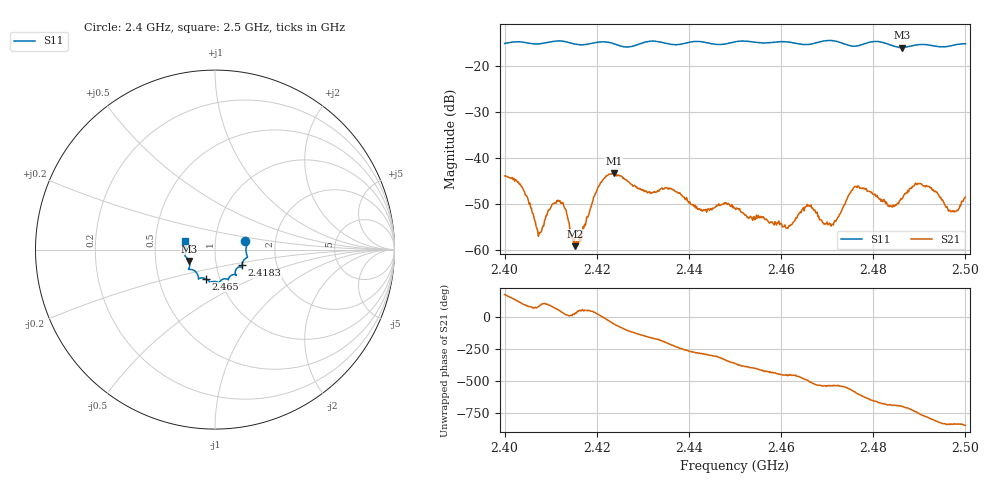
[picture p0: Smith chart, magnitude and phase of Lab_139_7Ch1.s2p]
# Hz S RI R 50
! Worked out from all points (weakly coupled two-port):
!   601 points, 2.4 GHz to 2.5 GHz, reference 50 ohm
!   highest |S21| = -43.38 dB at 2.4237 GHz (marker M1); lowest = -59.2 dB at 2.4153 GHz (marker M2)
!   lowest |S11| = -16.0 dB at 2.4862 GHz (marker M3), VSWR 1.38, Z = 37.1 - j4.81 ohm
!   |S11| at or under -10 dB: start of sweep to end of sweep
!   S12 and S22 are empty: the file has one direction only
!   S11 on the Smith chart (normalised r, x): 2.4 GHz: 1.40, +0.13; 2.4183 GHz: 1.33, -0.24; 2.465 GHz: 0.86, -0.29; 2.5 GHz: 0.71, +0.07
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2.4e9  0.1688 0.0457  -0.00633 0.000338  0 0  0 0
2.403833e9  0.1793 0.0279  -0.00125 0.00459  0 0  0 0
2.4075e9  0.1729 -0.00971  0.000129 0.00153  0 0  0 0
2.412167e9  0.1813 -0.0424  0.00228 0.00224  0 0  0 0
2.415333e9  0.1631 -0.0553  0.000913 0.000597  0 0  0 0
2.416667e9  0.1549 -0.0682  0.000947 0.00115  0 0  0 0
2.418333e9  0.1499 -0.0868  0.0015 0.00194  0 0  0 0
2.420833e9  0.1515 -0.1006  0.00529 0.00112  0 0  0 0
2.423667e9  0.1449 -0.0967  0.0042 -0.00532  0 0  0 0
2.433333e9  0.1167 -0.1414  -0.00441 -0.00034  0 0  0 0
2.4425e9  0.0728 -0.1681  0.000644 0.00261  0 0  0 0
2.45e9  0.025 -0.1807  0.00281 -6.03e-05  0 0  0 0
2.461e9  -0.0303 -0.18  -3.11e-05 -0.00173  0 0  0 0
2.465e9  -0.0528 -0.1621  -0.00143 -0.00221  0 0  0 0
2.466667e9  -0.0713 -0.1575  -0.00252 -0.00129  0 0  0 0
2.471333e9  -0.0923 -0.1632  -0.00185 -8.72e-05  0 0  0 0
2.476333e9  -0.1142 -0.1177  -0.00289 0.0039  0 0  0 0
2.483333e9  -0.142 -0.096  0.00252 0.0017  0 0  0 0
2.486167e9  -0.1448 -0.0632  0.00322 0.00149  0 0  0 0
2.489667e9  -0.1654 -0.0381  0.00464 -0.00248  0 0  0 0
2.496833e9  -0.1629 0.0258  -0.00106 -0.00236  0 0  0 0
2.5e9  -0.1669 0.0473  -0.00218 -0.00301  0 0  0 0
